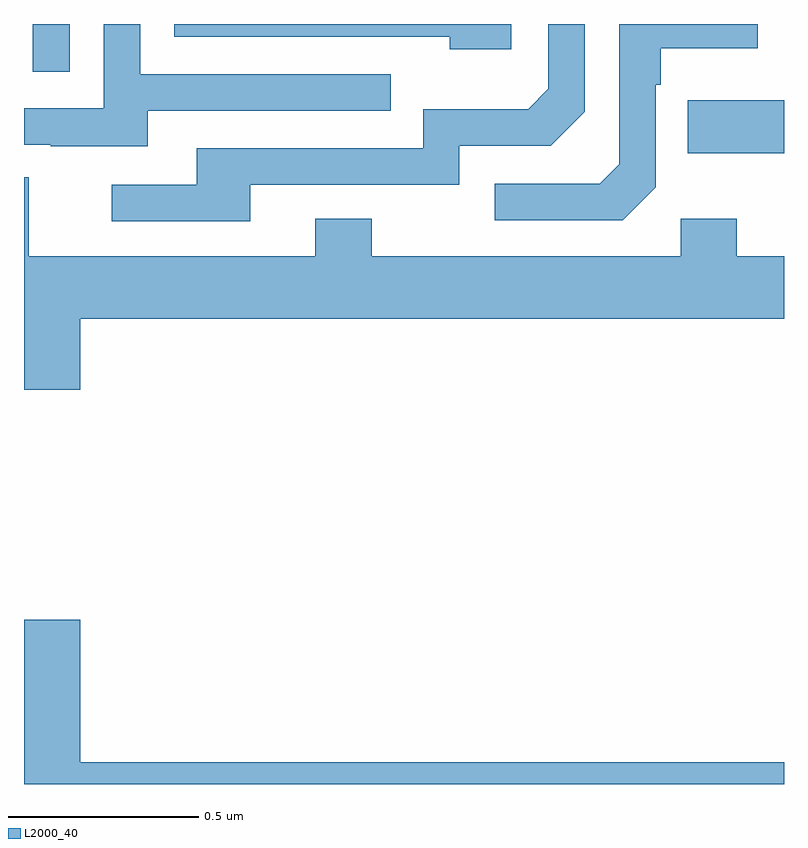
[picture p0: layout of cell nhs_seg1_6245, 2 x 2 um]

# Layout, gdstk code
import gdstk
lib = gdstk.Library(unit=1e-6, precision=1e-09)
def R(c, l, rs):  # rectangles x0, y0, x1, y1
    for r in rs: c.add(gdstk.rectangle(r[:2], r[2:], *l))
def P(c, l, *ps):  # polygons
    for p in ps: c.add(gdstk.Polygon(p, *l))
L2000_40 = (2000, 40)

nhs_seg1_6245 = lib.new_cell('nhs_seg1_6245')
R(nhs_seg1_6245, L2000_40, [(190.747,526.859,191,526.999), (189.023,527.073,189.12,527.199)])
P(nhs_seg1_6245, L2000_40, [(190.662,526.77),(190.662,527.039),(190.675,527.039),(190.675,527.135),(190.931,527.135),(190.931,527.199),(190.566,527.199),(190.566,526.83),(190.515,526.779),(190.239,526.779),(190.239,526.683),(190.575,526.683)],
  [(189.325,526.971),(189.965,526.971),(189.965,527.067),(189.306,527.067),(189.306,527.199),(189.21,527.199),(189.21,526.977),(189,526.977),(189,526.881),(189.071,526.881),(189.071,526.877),(189.325,526.877)],
  [(190.282,527.199),(189.396,527.199),(189.396,527.166),(190.121,527.166),(190.121,527.132),(190.282,527.132)],
  [(189.595,526.776),(190.146,526.776),(190.146,526.878),(190.386,526.878),(190.476,526.968),(190.476,527.199),(190.38,527.199),(190.38,527.028),(190.327,526.975),(190.05,526.975),(190.05,526.872),(189.455,526.872),(189.455,526.776),(189.231,526.776),(189.231,526.68),(189.595,526.68)],
  [(189,526.796),(189,526.236),(189.148,526.236),(189.148,526.424),(191,526.424),(191,526.588),(190.875,526.588),(190.875,526.687),(190.728,526.687),(190.728,526.588),(189.915,526.588),(189.915,526.687),(189.767,526.687),(189.767,526.588),(189.013,526.588),(189.013,526.796)],
  [(191,525.256),(189.148,525.256),(189.148,525.631),(189,525.631),(189,525.199),(191,525.199)])

lib.write_gds('nhs_seg1_6245.gds')
